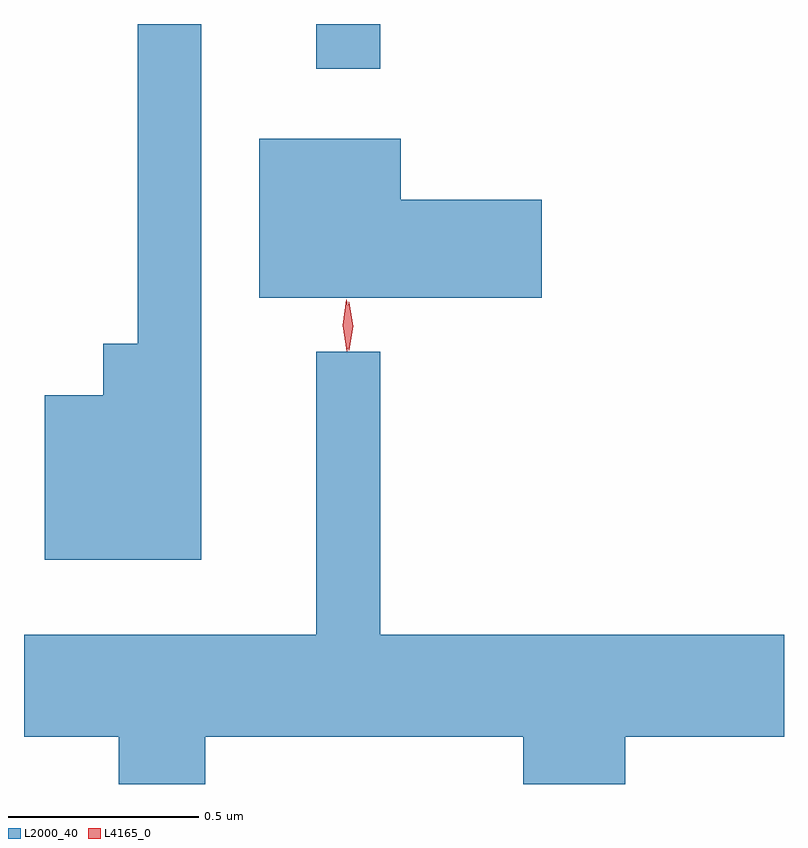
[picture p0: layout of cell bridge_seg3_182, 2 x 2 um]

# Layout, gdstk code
import gdstk
lib = gdstk.Library(unit=1e-6, precision=1e-09)
def R(c, l, rs):  # rectangles x0, y0, x1, y1
    for r in rs: c.add(gdstk.rectangle(r[:2], r[2:], *l))
def P(c, l, *ps):  # polygons
    for p in ps: c.add(gdstk.Polygon(p, *l))
L2000_40 = (2000, 40)
L4165_0 = (4165, 0)

bridge_seg3_182 = lib.new_cell('bridge_seg3_182')
R(bridge_seg3_182, L2000_40, [(853.891,1143.313,854.059,1143.431)])
P(bridge_seg3_182, L2000_40, [(853.589,1143.431),(853.421,1143.431),(853.421,1142.589),(853.331,1142.589),(853.331,1142.454),(853.176,1142.454),(853.176,1142.021),(853.589,1142.021)],
  [(854.484,1142.969),(854.114,1142.969),(854.114,1143.129),(853.741,1143.129),(853.741,1142.711),(854.484,1142.711)],
  [(853.599,1141.556),(854.436,1141.556),(854.436,1141.431),(854.704,1141.431),(854.704,1141.556),(855.122,1141.556),(855.122,1141.824),(854.059,1141.824),(854.059,1142.568),(853.891,1142.568),(853.891,1141.824),(853.122,1141.824),(853.122,1141.556),(853.371,1141.556),(853.371,1141.431),(853.599,1141.431)])
P(bridge_seg3_182, L4165_0, [(853.971,1142.57),(853.961,1142.638),(853.97,1142.706),(853.971,1142.706),(853.971,1142.706),(853.981,1142.638),(853.972,1142.57),(853.972,1142.57)],
  [(853.977,1142.573),(853.977,1142.573),(853.967,1142.636),(853.977,1142.699),(853.977,1142.7),(853.978,1142.699),(853.988,1142.636),(853.978,1142.573)])

lib.write_gds('bridge_seg3_182.gds')
